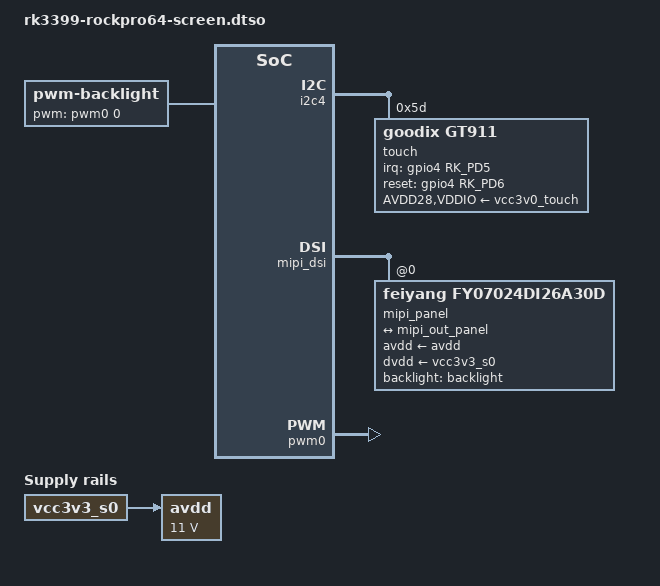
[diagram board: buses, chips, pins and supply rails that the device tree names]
// SPDX-License-Identifier: (GPL-2.0+ OR MIT)
/*
 * Copyright (c) 2017 Fuzhou Rockchip Electronics Co., Ltd.
 * Copyright (c) 2025 Peter Robinson <pbrobinson@gmail.com>
 */

/dts-v1/;
/plugin/;

#include <dt-bindings/gpio/gpio.h>
#include <dt-bindings/interrupt-controller/irq.h>
#include <dt-bindings/pinctrl/rockchip.h>

&{/} {
	avdd: regulator-avdd {
		compatible = "regulator-fixed";
		regulator-name = "avdd";
		regulator-min-microvolt = <11000000>;
		regulator-max-microvolt = <11000000>;
		vin-supply = <&vcc3v3_s0>;
	};

	backlight: backlight {
		compatible = "pwm-backlight";
		brightness-levels = <0 4 8 16 32 64 128 255>;
		default-brightness-level = <5>;
		pwms = <&pwm0 0 1000000 0>;
		status = "okay";
	};
};

&i2c4 {
	#address-cells = <1>;
	#size-cells = <0>;

	touch: touchscreen@5d {
		compatible = "goodix,gt911";
		reg = <0x5d>;
		interrupt-parent = <&gpio4>;
		interrupts = <RK_PD5 IRQ_TYPE_EDGE_FALLING>;
		AVDD28-supply = <&vcc3v0_touch>;
		VDDIO-supply = <&vcc3v0_touch>;
		irq-gpios = <&gpio4 RK_PD5 GPIO_ACTIVE_HIGH>;
		reset-gpios = <&gpio4 RK_PD6 GPIO_ACTIVE_HIGH>;
		status = "okay";
	};
};

&mipi_dsi {
	clock-master;
	#address-cells = <1>;
	#size-cells = <0>;
	status = "okay";

	mipi_panel: panel@0 {
		compatible = "feiyang,fy07024di26a30d";
		reg = <0>;
		avdd-supply = <&avdd>;
		backlight = <&backlight>;
		dvdd-supply = <&vcc3v3_s0>;

		port {
			mipi_in_panel: endpoint {
				remote-endpoint = <&mipi_out_panel>;
			};
		};
	};
};

&mipi_out {
	mipi_out_panel: endpoint {
		remote-endpoint = <&mipi_in_panel>;
	};
};

&pwm0 {
	status = "okay";
};
